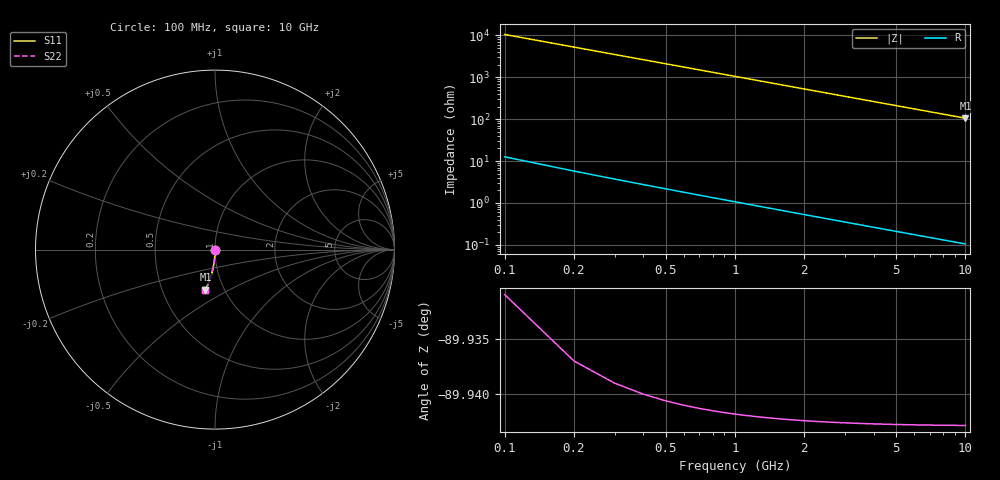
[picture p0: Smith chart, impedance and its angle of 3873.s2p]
# Hz S RI R 50.00
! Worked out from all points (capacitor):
!   100 points, 100 MHz to 10 GHz, reference 50 ohm
!   read as one part in shunt: C = 152 fF near 100 MHz
!   lowest |Z| = 106 ohm at 10 GHz (marker M1)
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1e8  -6.79e-06 -0.00238  1 -0.00239  1 -0.00239  -6.79e-06 -0.00238
2e8  -2.62e-05 -0.00476  1 -0.00477  1 -0.00477  -2.62e-05 -0.00476
3e8  -5.69e-05 -0.00714  0.9999 -0.00716  0.9999 -0.00716  -5.69e-05 -0.00714
4e8  -9.9e-05 -0.00951  0.9999 -0.00954  0.9999 -0.00954  -9.9e-05 -0.00951
5e8  -0.000152 -0.0119  0.9998 -0.0119  0.9998 -0.0119  -0.000152 -0.0119
6e8  -0.000217 -0.0143  0.9998 -0.0143  0.9998 -0.0143  -0.000217 -0.0143
7e8  -0.000293 -0.0166  0.9997 -0.0167  0.9997 -0.0167  -0.000293 -0.0166
8e8  -0.000381 -0.019  0.9996 -0.0191  0.9996 -0.0191  -0.000381 -0.019
9e8  -0.000479 -0.0214  0.9995 -0.0215  0.9995 -0.0215  -0.000479 -0.0214
1.1e9  -0.00071 -0.0261  0.9993 -0.0262  0.9993 -0.0262  -0.00071 -0.0261
1.4e9  -0.00114 -0.0332  0.9989 -0.0333  0.9989 -0.0333  -0.00114 -0.0332
1.8e9  -0.00187 -0.0427  0.9981 -0.0428  0.9981 -0.0428  -0.00187 -0.0427
2.1e9  -0.00254 -0.0498  0.9975 -0.0499  0.9975 -0.0499  -0.00254 -0.0498
2.5e9  -0.00358 -0.0592  0.9964 -0.0594  0.9964 -0.0594  -0.00358 -0.0592
2.9e9  -0.0048 -0.0686  0.9952 -0.0688  0.9952 -0.0688  -0.0048 -0.0686
3.4e9  -0.00657 -0.0802  0.9934 -0.0804  0.9934 -0.0804  -0.00657 -0.0802
4.2e9  -0.00996 -0.0987  0.99 -0.099  0.99 -0.099  -0.00996 -0.0987
5.1e9  -0.0146 -0.1192  0.9854 -0.1195  0.9854 -0.1195  -0.0146 -0.1192
5.9e9  -0.0194 -0.1371  0.9806 -0.1375  0.9806 -0.1375  -0.0194 -0.1371
6.7e9  -0.0248 -0.1548  0.9752 -0.1552  0.9752 -0.1552  -0.0248 -0.1548
8.4e9  -0.0383 -0.1911  0.9617 -0.1917  0.9617 -0.1917  -0.0383 -0.1911
1e10  -0.0532 -0.2237  0.9468 -0.2244  0.9468 -0.2244  -0.0532 -0.2237
